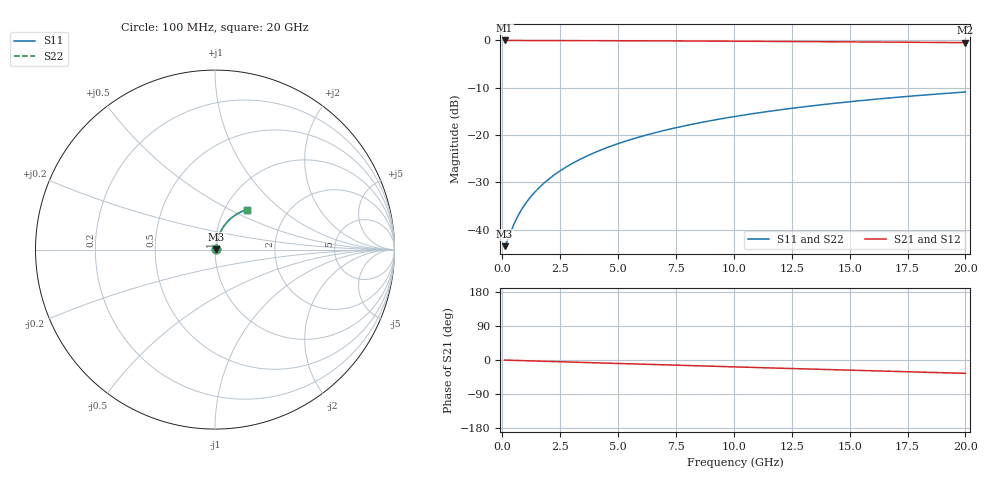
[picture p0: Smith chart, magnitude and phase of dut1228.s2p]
! Touchstone file exported from HFSS 2026.1.0
!  File:  C:/ffzhzh/LocalFiles/Ansys_Project_Files/temp_train_TMRDL_1228_1783163438_18472.aedt
!  Generated:  07:11:49 PM Jul  4, 2026
!  Design:  TMRDL
!  Project:  temp_train_TMRDL_1228_1783163438_18472
! Variables:
!  h_bsmrdl = 2um
!  h_ox = 20um
!  h_rdl = 5um
!  h_sub = 80um
!  h_tmrdl = 2.49um
!  h_tsv = 80um
!  h_via = 3um
!  l_bsmrdl = 300um
!  l_sub = 954.16um
!  l_tmrdl = 554.16um
!  m_sub = 200um
!  pitch = 23.67um
!  r_tsv = 6um
!  s_tmrdl = 10um
!  w_bsmrdl = 18um
!  w_sub = 500um
!  w_tmrdl = 12.45um
!  x_tsv_center1 = 560.385um
!  x_tsv_center2 = 878.385um
!  x_tsv_center3 = 1444.995um
!  x_tsv_center4 = 1762.995um
!  x_tsv_center5 = 2329.605um
!  x_tsv_center6 = 2647.605um
# GHz S MA R 50.000000
! Terminal data exported
! Port[1] = TM_RDL1_1_T1
! Port[2] = TM_RDL1_1_T2
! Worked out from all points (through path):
!   200 points, 100 MHz to 20 GHz, reference 50 ohm
!   highest |S21| = -0.06 dB at 100 MHz (marker M1); lowest = -0.5 dB at 20 GHz (marker M2)
!   group delay of S21, straight-line fit = 4.89 ps
!   lowest |S11| = -43.5 dB at 100 MHz (marker M3), VSWR 1.01, Z = 50.6 + j0.186 ohm
!   |S11| at or under -10 dB: start of sweep to end of sweep
!   |S22| runs from -43.5 to -10.9 dB; largest |S21 - S12| = 2.7e-15
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0.1  0.006678 16.0  0.9936 -0.2  0.9936 -0.2  0.006678 16.0
! Gamma 0 0 0 0
! Port Impedance 50 0 50 0
0.2  0.007478 29.3  0.9935 -0.4  0.9935 -0.4  0.007478 29.3
0.5  0.01135 51.4  0.993 -1.0  0.993 -1.0  0.01135 51.4
0.7  0.01429 58.2  0.9927 -1.3  0.9927 -1.3  0.01429 58.2
0.8  0.01578 60.6  0.9925 -1.5  0.9925 -1.5  0.01578 60.6
1  0.01877 64.1  0.9922 -1.9  0.9922 -1.9  0.01877 64.1
1.3  0.02328 67.8  0.9919 -2.4  0.9919 -2.4  0.02328 67.8
1.7  0.02938 70.8  0.9915 -3.2  0.9915 -3.2  0.02938 70.8
2.2  0.03709 72.9  0.991 -4.1  0.991 -4.1  0.03709 72.9
2.8  0.04643 74.2  0.9904 -5.2  0.9904 -5.2  0.04643 74.2
3.5  0.05738 74.7  0.9896 -6.5  0.9896 -6.5  0.05738 74.7
4.2  0.06833 74.7  0.9887 -7.7  0.9887 -7.7  0.06833 74.7
5  0.08079 74.2  0.9874 -9.2  0.9874 -9.2  0.08079 74.2
5.9  0.0947 73.3  0.9858 -10.8  0.9858 -10.8  0.0947 73.3
6.8  0.1085 72.2  0.984 -12.5  0.984 -12.5  0.1085 72.2
8.3  0.131 70.1  0.9805 -15.2  0.9805 -15.2  0.131 70.1
10.1  0.1573 67.3  0.9758 -18.3  0.9758 -18.3  0.1573 67.4
11.7  0.1798 64.8  0.9711 -21.2  0.9711 -21.2  0.1798 64.8
13.4  0.203 62.1  0.9657 -24.1  0.9657 -24.1  0.203 62.1
15  0.2239 59.5  0.9603 -26.8  0.9603 -26.8  0.2239 59.5
16.7  0.2452 56.8  0.9544 -29.7  0.9544 -29.7  0.2452 56.8
20  0.2839 51.5  0.9424 -35.2  0.9424 -35.2  0.2839 51.6
